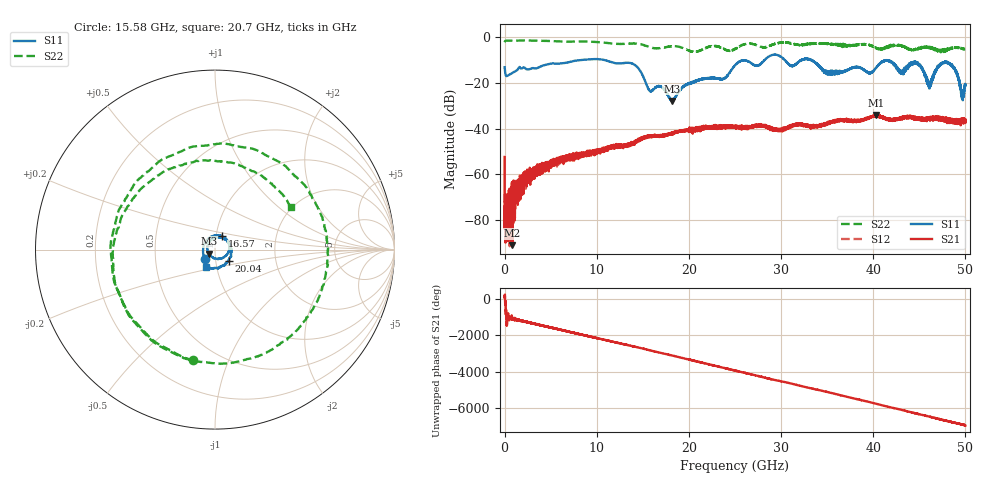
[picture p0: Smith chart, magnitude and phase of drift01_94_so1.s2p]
!Created with skrf (http://scikit-rf.org).
# Hz S RI R 50.0
!freq ReS11 ImS11 ReS21 ImS21 ReS12 ImS12 ReS22 ImS22
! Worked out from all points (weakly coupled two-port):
!   10001 points, 300 kHz to 50 GHz, reference 50 ohm
!   highest |S21| = -34.01 dB at 40.34 GHz (marker M1); lowest = -91.1 dB at 855.3 MHz (marker M2)
!   lowest |S11| = -27.9 dB at 18.15 GHz (marker M3), VSWR 1.08, Z = 46.7 - j2.05 ohm
!   |S11| at or under -10 dB: start of sweep to 8.079 GHz; 10.9 GHz to 25.84 GHz (14.93 GHz wide, 81.3 % of centre); 41.61 GHz to end of sweep (the widest 3 of 18)
!   |S22| runs from -6.6 to -1.4 dB; largest |S21 - S12| = 0.0037
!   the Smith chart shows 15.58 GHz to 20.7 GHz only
!   S11 on the Smith chart (normalised r, x): 15.58 GHz: 0.89, -0.09; 16.57 GHz: 1.07, +0.16; 20.04 GHz: 1.15, -0.15; 20.7 GHz: 0.88, -0.17
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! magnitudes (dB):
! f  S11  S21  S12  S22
! 300 kHz  -13.1  -52.3  -68.7  -2.1
! 255.3 MHz  -16.9  -72.6  -76.2  -1.4
! 855.3 MHz  -15.6  -91.1  -67.8  -1.5
! 3.21 GHz  -13.5  -57.8  -58.6  -1.5
! 8.335 GHz  -9.9  -51.6  -50.9  -1.8
! 13.87 GHz  -11.5  -46.1  -46.4  -2.7
! 15.58 GHz  -22.4  -43.2  -43.4  -4.0
! 16.57 GHz  -21.5  -43.3  -42.8  -4.7
! 16.67 GHz  -21.3  -42.9  -43.4  -4.8
! 18.15 GHz  -27.9  -41.8  -42.0  -3.9
! 20.04 GHz  -20.0  -40.8  -40.7  -5.9
! 20.7 GHz  -19.1  -40.4  -40.1  -6.3
! 25 GHz  -12.2  -39.1  -39.3  -5.1
! 33.34 GHz  -10.0  -39.0  -39.1  -2.7
! 35.25 GHz  -15.2  -37.5  -37.5  -2.9
! 40.34 GHz  -13.2  -34.0  -34.4  -4.7
! 41.67 GHz  -10.3  -35.5  -36.1  -4.2
! 43.07 GHz  -15.2  -35.3  -35.4  -3.7
! 44.81 GHz  -11.2  -35.5  -35.4  -5.0
! 46.11 GHz  -21.4  -36.1  -35.3  -4.3
! 48.06 GHz  -11.3  -35.6  -36.4  -4.9
! 50 GHz  -21.1  -36.4  -36.5  -5.4
